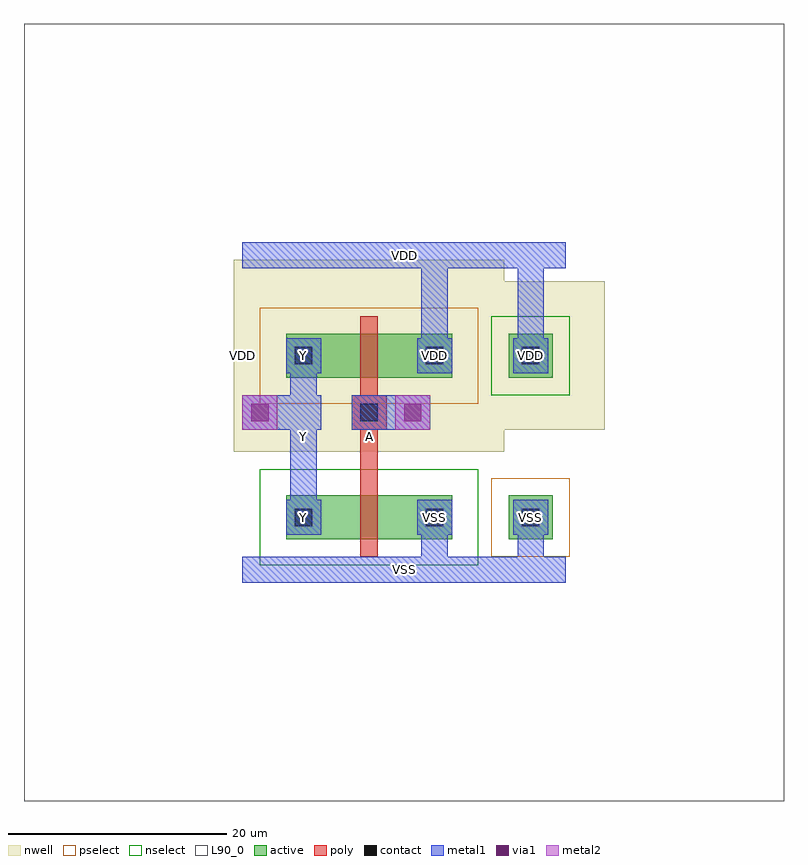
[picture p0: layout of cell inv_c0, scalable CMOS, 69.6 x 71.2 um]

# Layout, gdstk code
import gdstk
lib = gdstk.Library(unit=1e-6, precision=1e-09)
def R(c, l, rs):  # rectangles x0, y0, x1, y1
    for r in rs: c.add(gdstk.rectangle(r[:2], r[2:], *l))
def P(c, l, *ps):  # polygons
    for p in ps: c.add(gdstk.Polygon(p, *l))
contact = (25, 0)
nwell = (42, 0)
active = (43, 0)
pselect = (44, 0)
nselect = (45, 0)
poly = (46, 0)
metal1 = (49, 0)
via1 = (50, 0)
metal2 = (51, 0)
L90_0 = (90, 0)

inv_c0 = lib.new_cell('inv_c0')
R(inv_c0, contact, [(4.8,5.2,6.4,6.8), (16.8,5.2,18.4,6.8), (25.6,5.2,27.2,6.8), (10.8,14.8,12.4,16.4), (4.8,20,6.4,21.6), (16.8,20,18.4,21.6), (25.6,20,27.2,21.6)])
R(inv_c0, nwell, [(-0.8,12,24,29.6), (19.6,14,33.2,27.6)])
R(inv_c0, active, [(4,4,19.2,8), (24.4,4,28.4,8), (4,18.8,19.2,22.8), (24.4,18.8,28.4,22.8)])
R(inv_c0, pselect, [(22.8,2.4,30,9.6), (1.6,16.4,21.6,25.2)])
R(inv_c0, nselect, [(1.6,1.6,21.6,10.4), (22.8,17.2,30,24.4)])
R(inv_c0, poly, [(10.8,2.4,12.4,9.6), (10.8,2.4,12.4,24.4), (10,14,13.2,17.2), (10.8,17.2,12.4,24.4)])
R(inv_c0, metal1, [(0,0,29.6,2.4), (16.4,1.2,18.8,6), (25.2,1.2,27.6,6), (4,4.4,7.2,7.6), (16,4.4,19.2,7.6), (24.8,4.4,28,7.6), (4.4,4.8,6.8,22), (4.4,6,6.8,15.6), (0,14,3.2,17.2), (0,14,7.2,17.2), (10,14,13.2,17.2), (10,14,17.2,17.2), (14,14,17.2,17.2), (4,19.2,7.2,22.4), (16,19.2,19.2,22.4), (24.8,19.2,28,22.4), (16.4,20.8,18.8,30), (25.2,20.8,27.6,30), (0,28.8,29.6,31.2)])
P(inv_c0, metal1, [(5.6,4.8),(5.6,7.2),(5.6,7.2),(5.6,4.8)])
R(inv_c0, via1, [(0.8,14.8,2.4,16.4), (14.8,14.8,16.4,16.4)])
R(inv_c0, metal2, [(0,14,3.2,17.2), (14,14,17.2,17.2), (0.4,14.4,2.8,16.8), (14.4,14.4,16.8,16.8)])
R(inv_c0, L90_0, [(-20,-20,49.6,51.2)])
inv_c0.add(gdstk.Label('A', (11.6,13.4), layer=64, texttype=0))
inv_c0.add(gdstk.Label('Y', (5.6,13.4), layer=64, texttype=0))
inv_c0.add(gdstk.Label('VDD', (14.8,30), layer=64, texttype=0))
inv_c0.add(gdstk.Label('VSS', (14.8,1.2), layer=64, texttype=0))
inv_c0.add(gdstk.Label('VDD', (26.4,20.8), layer=64, texttype=0))
inv_c0.add(gdstk.Label('VSS', (26.4,6), layer=64, texttype=0))
inv_c0.add(gdstk.Label('Y', (5.6,6), layer=64, texttype=0))
inv_c0.add(gdstk.Label('VSS', (17.6,6), layer=64, texttype=0))
inv_c0.add(gdstk.Label('Y', (5.6,20.8), layer=64, texttype=0))
inv_c0.add(gdstk.Label('VDD', (17.6,20.8), layer=64, texttype=0))
inv_c0.add(gdstk.Label('VDD', (0,20.8), layer=64, texttype=0))

lib.write_gds('inv_c0.gds')
